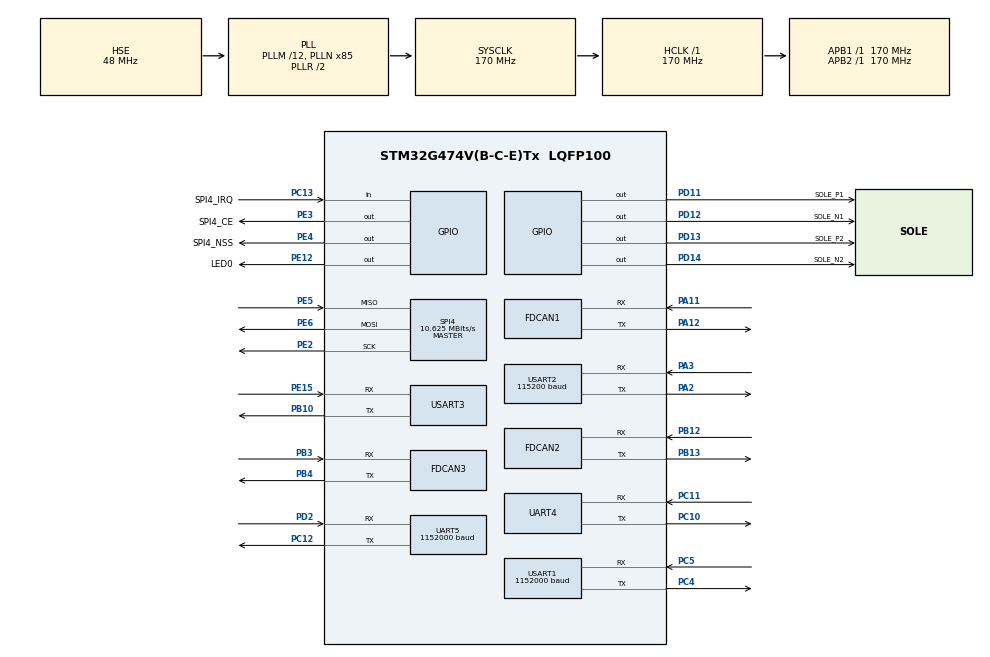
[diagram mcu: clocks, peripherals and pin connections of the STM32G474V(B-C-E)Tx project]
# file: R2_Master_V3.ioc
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Dma.Request0=USART1_RX
Dma.Request1=USART2_RX
Dma.Request2=USART3_RX
Dma.Request3=UART4_RX
Dma.Request4=UART5_RX
Dma.UART4_RX.3.Direction=DMA_PERIPH_TO_MEMORY
Dma.UART4_RX.3.EventEnable=DISABLE
Dma.UART4_RX.3.Instance=DMA1_Channel4
Dma.UART4_RX.3.MemDataAlignment=DMA_MDATAALIGN_BYTE
Dma.UART4_RX.3.MemInc=DMA_MINC_ENABLE
Dma.UART4_RX.3.Mode=DMA_NORMAL
Dma.UART4_RX.3.PeriphDataAlignment=DMA_PDATAALIGN_BYTE
Dma.UART4_RX.3.PeriphInc=DMA_PINC_DISABLE
Dma.UART4_RX.3.Polarity=HAL_DMAMUX_REQ_GEN_RISING
Dma.UART4_RX.3.Priority=DMA_PRIORITY_LOW
Dma.UART4_RX.3.RequestNumber=1
Dma.UART4_RX.3.SignalID=NONE
Dma.UART4_RX.3.SyncEnable=DISABLE
Dma.UART4_RX.3.SyncPolarity=HAL_DMAMUX_SYNC_NO_EVENT
Dma.UART4_RX.3.SyncRequestNumber=1
Dma.UART4_RX.3.SyncSignalID=NONE
Dma.UART5_RX.4.Direction=DMA_PERIPH_TO_MEMORY
Dma.UART5_RX.4.EventEnable=DISABLE
Dma.UART5_RX.4.Instance=DMA1_Channel5
Dma.UART5_RX.4.MemDataAlignment=DMA_MDATAALIGN_BYTE
Dma.UART5_RX.4.MemInc=DMA_MINC_ENABLE
Dma.UART5_RX.4.Mode=DMA_NORMAL
Dma.UART5_RX.4.PeriphDataAlignment=DMA_PDATAALIGN_BYTE
Dma.UART5_RX.4.PeriphInc=DMA_PINC_DISABLE
Dma.UART5_RX.4.Polarity=HAL_DMAMUX_REQ_GEN_RISING
Dma.UART5_RX.4.Priority=DMA_PRIORITY_LOW
Dma.UART5_RX.4.RequestNumber=1
Dma.UART5_RX.4.SignalID=NONE
Dma.UART5_RX.4.SyncEnable=DISABLE
Dma.UART5_RX.4.SyncPolarity=HAL_DMAMUX_SYNC_NO_EVENT
Dma.UART5_RX.4.SyncRequestNumber=1
Dma.UART5_RX.4.SyncSignalID=NONE
Dma.USART1_RX.0.Direction=DMA_PERIPH_TO_MEMORY
Dma.USART1_RX.0.EventEnable=DISABLE
Dma.USART1_RX.0.Instance=DMA1_Channel1
Dma.USART1_RX.0.MemDataAlignment=DMA_MDATAALIGN_BYTE
Dma.USART1_RX.0.MemInc=DMA_MINC_ENABLE
Dma.USART1_RX.0.Mode=DMA_NORMAL
Dma.USART1_RX.0.PeriphDataAlignment=DMA_PDATAALIGN_BYTE
Dma.USART1_RX.0.PeriphInc=DMA_PINC_DISABLE
Dma.USART1_RX.0.Polarity=HAL_DMAMUX_REQ_GEN_RISING
Dma.USART1_RX.0.Priority=DMA_PRIORITY_LOW
Dma.USART1_RX.0.RequestNumber=1
Dma.USART1_RX.0.SignalID=NONE
Dma.USART1_RX.0.SyncEnable=DISABLE
Dma.USART1_RX.0.SyncPolarity=HAL_DMAMUX_SYNC_NO_EVENT
Dma.USART1_RX.0.SyncRequestNumber=1
Dma.USART1_RX.0.SyncSignalID=NONE
Dma.USART2_RX.1.Direction=DMA_PERIPH_TO_MEMORY
Dma.USART2_RX.1.EventEnable=DISABLE
Dma.USART2_RX.1.Instance=DMA1_Channel2
Dma.USART2_RX.1.MemDataAlignment=DMA_MDATAALIGN_BYTE
Dma.USART2_RX.1.MemInc=DMA_MINC_ENABLE
Dma.USART2_RX.1.Mode=DMA_NORMAL
Dma.USART2_RX.1.PeriphDataAlignment=DMA_PDATAALIGN_BYTE
Dma.USART2_RX.1.PeriphInc=DMA_PINC_DISABLE
Dma.USART2_RX.1.Polarity=HAL_DMAMUX_REQ_GEN_RISING
Dma.USART2_RX.1.Priority=DMA_PRIORITY_LOW
Dma.USART2_RX.1.RequestNumber=1
Dma.USART2_RX.1.SignalID=NONE
Dma.USART2_RX.1.SyncEnable=DISABLE
Dma.USART2_RX.1.SyncPolarity=HAL_DMAMUX_SYNC_NO_EVENT
Dma.USART2_RX.1.SyncRequestNumber=1
Dma.USART2_RX.1.SyncSignalID=NONE
Dma.USART3_RX.2.Direction=DMA_PERIPH_TO_MEMORY
Dma.USART3_RX.2.EventEnable=DISABLE
Dma.USART3_RX.2.Instance=DMA1_Channel3
Dma.USART3_RX.2.MemDataAlignment=DMA_MDATAALIGN_BYTE
Dma.USART3_RX.2.MemInc=DMA_MINC_ENABLE
Dma.USART3_RX.2.Mode=DMA_NORMAL
Dma.USART3_RX.2.PeriphDataAlignment=DMA_PDATAALIGN_BYTE
Dma.USART3_RX.2.PeriphInc=DMA_PINC_DISABLE
Dma.USART3_RX.2.Polarity=HAL_DMAMUX_REQ_GEN_RISING
Dma.USART3_RX.2.Priority=DMA_PRIORITY_LOW
Dma.USART3_RX.2.RequestNumber=1
Dma.USART3_RX.2.SignalID=NONE
Dma.USART3_RX.2.SyncEnable=DISABLE
Dma.USART3_RX.2.SyncPolarity=HAL_DMAMUX_SYNC_NO_EVENT
Dma.USART3_RX.2.SyncRequestNumber=1
Dma.USART3_RX.2.SyncSignalID=NONE
FDCAN1.CalculateBaudRateNominal=1000000
FDCAN1.CalculateTimeBitNominal=1000
FDCAN1.CalculateTimeQuantumNominal=100.0
FDCAN1.NominalPrescaler=17
FDCAN1.NominalTimeSeg1=6
FDCAN1.NominalTimeSeg2=3
FDCAN2.CalculateBaudRateNominal=1000000
FDCAN2.CalculateTimeBitNominal=1000
FDCAN2.CalculateTimeQuantumNominal=100.0
FDCAN2.NominalPrescaler=17
FDCAN2.NominalTimeSeg1=6
FDCAN2.NominalTimeSeg2=3
FDCAN3.CalculateBaudRateNominal=1000000
FDCAN3.CalculateTimeBitNominal=1000
FDCAN3.CalculateTimeQuantumNominal=100.0
FDCAN3.NominalPrescaler=17
FDCAN3.NominalTimeSeg1=6
FDCAN3.NominalTimeSeg2=3
FREERTOS.Queues01=NRF_RX_Queue,1,RemoteRXSturct,0,Dynamic,NULL,NULL;VisionData_Queue,32,VisionStruct,0,Dynamic,NULL,NULL;ControlQueue,32,ControlMsgStruct,0,Dynamic,NULL,NULL
FREERTOS.Tasks01=Debug_Task,0,1024,DebugTask,Default,NULL,Dynamic,NULL,NULL;NRF_Task,0,1024,NRFTask,Default,NULL,Dynamic,NULL,NULL;ChassisTask,0,2048,chassis,Default,NULL,Dynamic,NULL,NULL;ClawTask,0,2048,claw,Default,NULL,Dynamic,NULL,NULL;SuctionTask,0,2048,suction,Default,NULL,Dynamic,NULL,NULL;VisionComTask,0,2048,visioncom,Default,NULL,Dynamic,NULL,NULL;CloseLoopTask,0,2048,closeloop,Default,NULL,Dynamic,NULL,NULL;InitTask,3,1024,init,Default,NULL,Dynamic,NULL,NULL
FREERTOS.configTOTAL_HEAP_SIZE=65536
Mcu.Family=STM32G4
Mcu.Name=STM32G474V(B-C-E)Tx
Mcu.Package=LQFP100
NVIC.DMA1_Channel1_IRQn=true\:5\:0\:false\:false\:true\:true\:false\:true\:true
NVIC.DMA1_Channel2_IRQn=true\:5\:0\:false\:false\:true\:true\:false\:true\:true
NVIC.DMA1_Channel3_IRQn=true\:5\:0\:false\:false\:true\:true\:false\:true\:true
NVIC.DMA1_Channel4_IRQn=true\:5\:0\:false\:false\:true\:true\:false\:true\:true
NVIC.DMA1_Channel5_IRQn=true\:5\:0\:false\:false\:true\:true\:false\:true\:true
NVIC.FDCAN1_IT0_IRQn=true\:5\:0\:false\:false\:true\:true\:true\:true\:true
NVIC.FDCAN2_IT0_IRQn=true\:5\:0\:false\:false\:true\:true\:true\:true\:true
NVIC.FDCAN3_IT0_IRQn=true\:5\:0\:false\:false\:true\:true\:true\:true\:true
NVIC.PriorityGroup=NVIC_PRIORITYGROUP_4
NVIC.TIM2_IRQn=true\:5\:0\:false\:false\:true\:true\:true\:true\:true
NVIC.TIM7_DAC_IRQn=true\:15\:0\:false\:false\:true\:false\:false\:true\:true
NVIC.TimeBase=TIM7_DAC_IRQn
NVIC.TimeBaseIP=TIM7
NVIC.UART4_IRQn=true\:5\:0\:false\:false\:true\:true\:true\:true\:true
NVIC.UART5_IRQn=true\:5\:0\:false\:false\:true\:true\:true\:true\:true
NVIC.USART1_IRQn=true\:5\:0\:false\:false\:true\:true\:true\:true\:true
NVIC.USART2_IRQn=true\:5\:0\:false\:false\:true\:true\:true\:true\:true
NVIC.USART3_IRQn=true\:5\:0\:false\:false\:true\:true\:true\:true\:true
PA11.Mode=FDCAN_Activate
PA11.Signal=FDCAN1_RX
PA12.Mode=FDCAN_Activate
PA12.Signal=FDCAN1_TX
PA13.Mode=Serial_Wire
PA13.Signal=SYS_JTMS-SWDIO
PA14.Mode=Serial_Wire
PA14.Signal=SYS_JTCK-SWCLK
PA2.Mode=Asynchronous
PA2.Signal=USART2_TX
PA3.Mode=Asynchronous
PA3.Signal=USART2_RX
PA8.Signal=I2C2_SDA
PA9.Signal=I2C2_SCL
PB10.Mode=Asynchronous
PB10.Signal=USART3_TX
PB12.Mode=FDCAN_Activate
PB12.Signal=FDCAN2_RX
PB13.Mode=FDCAN_Activate
PB13.Signal=FDCAN2_TX
PB3.Mode=FDCAN_Activate
PB3.Signal=FDCAN3_RX
PB4.Mode=FDCAN_Activate
PB4.Signal=FDCAN3_TX
PC10.Mode=Asynchronous
PC10.Signal=UART4_TX
PC11.Mode=Asynchronous
PC11.Signal=UART4_RX
PC12.Mode=Asynchronous
PC12.Signal=UART5_TX
PC13.GPIO_Label=SPI4_IRQ
PC13.Signal=GPIO_Input
PC4.Mode=Asynchronous
PC4.Signal=USART1_TX
PC5.Mode=Asynchronous
PC5.Signal=USART1_RX
PD11.GPIO_Label=SOLE_P1
PD11.GPIO_PuPd=GPIO_PULLDOWN
PD11.GPIO_Speed=GPIO_SPEED_FREQ_LOW
PD11.PinState=GPIO_PIN_RESET
PD11.Signal=GPIO_Output
PD12.GPIO_Label=SOLE_N1
PD12.GPIO_ModeDefaultOutputPP=GPIO_MODE_OUTPUT_PP
PD12.GPIO_PuPd=GPIO_PULLDOWN
PD12.GPIO_Speed=GPIO_SPEED_FREQ_LOW
PD12.PinState=GPIO_PIN_RESET
PD12.Signal=GPIO_Output
PD13.GPIO_Label=SOLE_P2
PD13.GPIO_ModeDefaultOutputPP=GPIO_MODE_OUTPUT_PP
PD13.GPIO_PuPd=GPIO_PULLDOWN
PD13.GPIO_Speed=GPIO_SPEED_FREQ_LOW
PD13.PinState=GPIO_PIN_RESET
PD13.Signal=GPIO_Output
PD14.GPIO_Label=SOLE_N2
PD14.GPIO_ModeDefaultOutputPP=GPIO_MODE_OUTPUT_PP
PD14.GPIO_PuPd=GPIO_PULLDOWN
PD14.GPIO_Speed=GPIO_SPEED_FREQ_LOW
PD14.PinState=GPIO_PIN_RESET
PD14.Signal=GPIO_Output
PD2.Mode=Asynchronous
PD2.Signal=UART5_RX
PE12.GPIO_Label=LED0
PE12.GPIO_PuPd=GPIO_PULLUP
PE12.Signal=GPIO_Output
PE15.Mode=Asynchronous
PE15.Signal=USART3_RX
PE2.Mode=Full_Duplex_Master
PE2.Signal=SPI4_SCK
PE3.GPIO_Label=SPI4_CE
PE3.GPIO_Speed=GPIO_SPEED_FREQ_VERY_HIGH
PE3.Signal=GPIO_Output
PE4.GPIO_Label=SPI4_NSS
PE4.GPIO_Speed=GPIO_SPEED_FREQ_VERY_HIGH
PE4.Signal=GPIO_Output
PE5.Mode=Full_Duplex_Master
PE5.Signal=SPI4_MISO
PE6.Mode=Full_Duplex_Master
PE6.Signal=SPI4_MOSI
PF0-OSC_IN.Mode=HSE-External-Oscillator
PF0-OSC_IN.Signal=RCC_OSC_IN
PF1-OSC_OUT.Mode=HSE-External-Oscillator
PF1-OSC_OUT.Signal=RCC_OSC_OUT
ProjectManager.HeapSize=0x200
ProjectManager.StackSize=0x400
ProjectManager.TargetToolchain=STM32CubeIDE
RCC.ADC12Freq_Value=170000000
RCC.ADC345Freq_Value=170000000
RCC.AHBFreq_Value=170000000
RCC.APB1Freq_Value=170000000
RCC.APB1TimFreq_Value=170000000
RCC.APB2Freq_Value=170000000
RCC.APB2TimFreq_Value=170000000
RCC.CortexFreq_Value=170000000
RCC.EXTERNAL_CLOCK_VALUE=12288000
RCC.HCLKFreq_Value=170000000
RCC.HSE_VALUE=48000000
RCC.HSI48_VALUE=48000000
RCC.HSI_VALUE=16000000
RCC.LSE_VALUE=32768
RCC.PLLM=RCC_PLLM_DIV12
RCC.PLLN=85
RCC.PLLSourceVirtual=RCC_PLLSOURCE_HSE
RCC.SYSCLKFreq_VALUE=170000000
RCC.SYSCLKSource=RCC_SYSCLKSOURCE_PLLCLK
RCC.USBFreq_Value=170000000
RCC.VCOOutputFreq_Value=340000000
SPI4.BaudRatePrescaler=SPI_BAUDRATEPRESCALER_16
SPI4.CalculateBaudRate=10.625 MBits/s
SPI4.DataSize=SPI_DATASIZE_8BIT
SPI4.Direction=SPI_DIRECTION_2LINES
SPI4.Mode=SPI_MODE_MASTER
SPI4.VirtualType=VM_MASTER
STMicroelectronics.X-CUBE-ALGOBUILD.1.3.0.LibraryCcDSPOoLibraryJjDSPOoLibrary=true
TIM2.AutoReloadPreload=TIM_AUTORELOAD_PRELOAD_ENABLE
TIM2.PeriodNoDither=1000
TIM2.Prescaler=170
UART5.BaudRate=1152000
USART1.BaudRate=1152000
USART1.VirtualMode-Asynchronous=VM_ASYNC
USART2.BaudRate=115200
USART2.VirtualMode-Asynchronous=VM_ASYNC
USART3.VirtualMode-Asynchronous=VM_ASYNC
VP_FREERTOS_VS_CMSIS_V1.Mode=CMSIS_V1
VP_STMicroelectronics.X-CUBE-ALGOBUILD_VS_DSPOoLibraryJjLibrary_1.3.0_1.3.0.Mode=DSPOoLibraryJjLibrary
VP_SYS_VS_DBSignals.Mode=DisableDeadBatterySignals
VP_SYS_VS_tim7.Mode=TIM7
VP_TIM2_VS_ClockSourceINT.Mode=Internal
board=custom

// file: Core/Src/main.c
/* USER CODE BEGIN Header */
/**
  ******************************************************************************
  * @file           : main.c
  * @brief          : Main program body
  ******************************************************************************
  * @attention
  *
  * Copyright (c) 2024 STMicroelectronics.
  * All rights reserved.
  *
  * This software is licensed under terms that can be found in the LICENSE file
  * in the root directory of this software component.
  * If no LICENSE file comes with this software, it is provided AS-IS.
  *
  ******************************************************************************
  */
/* USER CODE END Header */
#include "main.h"
#include "cmsis_os.h"
#include "dma.h"
#include "fdcan.h"
#include "spi.h"
#include "tim.h"
#include "usart.h"
#include "gpio.h"

/* USER CODE BEGIN PV */
int16_t Wheels_VelOut[4];//PID计算存储中间变量
uint8_t Control_Mode;
uint8_t State,Store_Flag;
float Left_TargetSpe,Right_TargetSpe,Slope_Pos,Toggle_Pos;
/* USER CODE END PV */

void SystemClock_Config(void);
void MX_FREERTOS_Init(void);

int main(void)
{

  /* MCU Configuration--------------------------------------------------------*/

  /* Reset of all peripherals, Initializes the Flash interface and the Systick. */
  HAL_Init();

  /* Configure the system clock */
  SystemClock_Config();

  /* Initialize all configured peripherals */
  MX_GPIO_Init();
  MX_DMA_Init();
  MX_FDCAN1_Init();
  MX_FDCAN2_Init();
  MX_FDCAN3_Init();
  MX_SPI4_Init();
  MX_USART1_UART_Init();
  MX_USART2_UART_Init();
  MX_USART3_UART_Init();
  MX_UART4_Init();
  MX_UART5_Init();
  MX_TIM2_Init();
  /* USER CODE BEGIN 2 */
    /** 打开串口1中断和DMA **/
    __HAL_UART_ENABLE_IT(&huart1,UART_IT_IDLE);
    HAL_UART_Receive_DMA(&huart1,USART1_Buffer,256);
    /** 打开串口1中断和DMA **/
    __HAL_UART_ENABLE_IT(&huart2,UART_IT_IDLE);
    HAL_UART_Receive_DMA(&huart2,USART2_Buffer,50);
    /** 打开串口1中断和DMA **/
    __HAL_UART_ENABLE_IT(&huart3,UART_IT_IDLE);
    HAL_UART_Receive_DMA(&huart3,USART3_Buffer,30);
    /** 打开串口1中断和DMA **/
    __HAL_UART_ENABLE_IT(&huart4,UART_IT_IDLE);
    HAL_UART_Receive_DMA(&huart4,USART4_Buffer,256);
    /** 打开串口1中断和DMA **/
    __HAL_UART_ENABLE_IT(&huart5,UART_IT_IDLE);
    HAL_UART_Receive_DMA(&huart5,USART5_Buffer,256);
    /** 初始化Printf函数 **/
    RetargetInit(&huart1);
    /** 初始化定时器中断 **/
    //HAL_TIM_Base_Start_IT(&htim2);
  /* USER CODE END 2 */

  /* Call init function for freertos objects (in cmsis_os2.c) */
  MX_FREERTOS_Init();

  /* Start scheduler */
  osKernelStart();

  /* We should never get here as control is now taken by the scheduler */

  /* Infinite loop */
  while (1)
  {

  }
}

void SystemClock_Config(void)
{
  RCC_OscInitTypeDef RCC_OscInitStruct = {0};
  RCC_ClkInitTypeDef RCC_ClkInitStruct = {0};

  /** Configure the main internal regulator output voltage
  */
  HAL_PWREx_ControlVoltageScaling(PWR_REGULATOR_VOLTAGE_SCALE1_BOOST);

  /** Initializes the RCC Oscillators according to the specified parameters
  * in the RCC_OscInitTypeDef structure.
  */
  RCC_OscInitStruct.OscillatorType = RCC_OSCILLATORTYPE_HSE;
  RCC_OscInitStruct.HSEState = RCC_HSE_ON;
  RCC_OscInitStruct.PLL.PLLState = RCC_PLL_ON;
  RCC_OscInitStruct.PLL.PLLSource = RCC_PLLSOURCE_HSE;
  RCC_OscInitStruct.PLL.PLLM = RCC_PLLM_DIV12;
  RCC_OscInitStruct.PLL.PLLN = 85;
  RCC_OscInitStruct.PLL.PLLP = RCC_PLLP_DIV2;
  RCC_OscInitStruct.PLL.PLLQ = RCC_PLLQ_DIV2;
  RCC_OscInitStruct.PLL.PLLR = RCC_PLLR_DIV2;
  if (HAL_RCC_OscConfig(&RCC_OscInitStruct) != HAL_OK)
  {
    Error_Handler();
  }

  /** Initializes the CPU, AHB and APB buses clocks
  */
  RCC_ClkInitStruct.ClockType = RCC_CLOCKTYPE_HCLK|RCC_CLOCKTYPE_SYSCLK
                              |RCC_CLOCKTYPE_PCLK1|RCC_CLOCKTYPE_PCLK2;
  RCC_ClkInitStruct.SYSCLKSource = RCC_SYSCLKSOURCE_PLLCLK;
  RCC_ClkInitStruct.AHBCLKDivider = RCC_SYSCLK_DIV1;
  RCC_ClkInitStruct.APB1CLKDivider = RCC_HCLK_DIV1;
  RCC_ClkInitStruct.APB2CLKDivider = RCC_HCLK_DIV1;

  if (HAL_RCC_ClockConfig(&RCC_ClkInitStruct, FLASH_LATENCY_4) != HAL_OK)
  {
    Error_Handler();
  }
}

/* USER CODE BEGIN 4 */
void ControlMsgSet(ControlMsgStruct *ControlQueueBuf,uint8_t device, uint8_t command, float data1, float data2, float data3, float data4){
    ControlQueueBuf->Device = device;
    ControlQueueBuf->Command = command;
    ControlQueueBuf->data[0] = data1;
    ControlQueueBuf->data[1] = data2;
    ControlQueueBuf->data[2] = data3;
    ControlQueueBuf->data[3] = data4;
}
void ControlMsgInit(ControlMsgStruct *ControlQueueBuf){
    ControlQueueBuf->Device = 0;
    ControlQueueBuf->Command = 0;
    ControlQueueBuf->data[0] = 0;
    ControlQueueBuf->data[1] = 0;
    ControlQueueBuf->data[2] = 0;
    ControlQueueBuf->data[3] = 0;
}
/* USER CODE END 4 */

void HAL_TIM_PeriodElapsedCallback(TIM_HandleTypeDef *htim)
{
  /* USER CODE BEGIN Callback 0 */
  if (htim->Instance == TIM2 ) {
      /** 实际�????????? **/
//      Wheels_VelOut[0] = (int16_t)PID_Realise(&Wheels[0],-Wheels_vel[0],Motor_Info[0].speed,M3508_CURRENT_MAX,5);
//      Wheels_VelOut[1] = (int16_t)PID_Realise(&Wheels[1],-Wheels_vel[1],Motor_Info[1].speed,M3508_CURRENT_MAX,5);
//      Wheels_VelOut[2] = (int16_t)PID_Realise(&Wheels[2],-Wheels_vel[2],Motor_Info[2].speed,M3508_CURRENT_MAX,5);
//      Wheels_VelOut[3] = (int16_t)PID_Realise(&Wheels[3],-Wheels_vel[3],Motor_Info[3].speed,M3508_CURRENT_MAX,5);
      /** 调试�????????? **/
//      Wheels_VelOut[0] = PID_Realise(&Wheels[0],Wheels[0].target,Motor_Info[0].speed,M3508_CURRENT_MAX,5);
//      Wheels_VelOut[1] = PID_Realise(&Wheels[1],Wheels[1].target,Motor_Info[1].speed,M3508_CURRENT_MAX,5);
//      Wheels_VelOut[2] = PID_Realise(&Wheels[2],Wheels[2].target,Motor_Info[2].speed,M3508_CURRENT_MAX,5);
//      Wheels_VelOut[3] = PID_Realise(&Wheels[3],Wheels[3].target,Motor_Info[3].speed,M3508_CURRENT_MAX,5);

      Set_Current(&hfdcan1,0x200,Wheels_VelOut[0],Wheels_VelOut[1],Wheels_VelOut[2],Wheels_VelOut[3]);
  }
  /* USER CODE END Callback 0 */
  if (htim->Instance == TIM7) {
    HAL_IncTick();
  }
}

void Error_Handler(void)
{
  __disable_irq();
  while (1)
  {
  }
}

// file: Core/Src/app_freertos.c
/* USER CODE BEGIN Header */
/**
  ******************************************************************************
  * File Name          : app_freertos.c
  * Description        : Code for freertos applications
  ******************************************************************************
  * @attention
  *
  * Copyright (c) 2024 STMicroelectronics.
  * All rights reserved.
  *
  * This software is licensed under terms that can be found in the LICENSE file
  * in the root directory of this software component.
  * If no LICENSE file comes with this software, it is provided AS-IS.
  *
  ******************************************************************************
  */
/* USER CODE END Header */

#include "FreeRTOS.h"
#include "task.h"
#include "main.h"
#include "cmsis_os.h"

/* USER CODE BEGIN Includes */
#include "fdcan.h"
#include "gpio.h"
#include "DT35.h"
#include "queue.h"
#include "Screen.h"
/* USER CODE END Includes */

/* USER CODE BEGIN Variables */
uint8_t str_flag;
extern int16_t Wheels_VelOut[0];
PointStruct Target_Point;
extern int16_t Toggle_Pos;
extern int16_t Slope_Pos;
int32_t VESC_Speed = 0;
uint8_t Sheild_Flag = 0;//屏蔽控制权交给chassis任务
extern float DT35_Area2;
float LiDar_x_last,LiDar_y_last = 0;
float Locator_Start[2];
float MutiPos_x;
float MutiPos_y;
float Locator_Addup[2];
float offset_angle = 0;
float offset_x = 0;
uint8_t flag1 = 0;
uint8_t flag2 = 0;
uint8_t meg = 0x01;
extern float DT35_Forward,DT35_CloseBall;
uint8_t Camp = RED;
uint8_t Interrupt_Flag = 1;
uint8_t CloseLoopStatus = 0;
PointStruct target_point = {0, 0, 0};
uint8_t AlignStatus = 0;
uint8_t number = 0;
//extern locater_def locater;
PointStruct Start_Point = {.x = 2.88f, .y = 9.7f, .angle = 0.0f};//3区调试用�???????????????????
PointStruct Watch_Point = {.x = 3.33f, .y = 9.7f, .angle = 0.0f};//3区调试用�???????????????????
//定义环类型，用于�???????????�取不同数据作为反馈�?????????????????????????-

/* USER CODE END Variables */
osThreadId Debug_TaskHandle;
osThreadId NRF_TaskHandle;
osThreadId ChassisTaskHandle;
osThreadId ClawTaskHandle;
osThreadId SuctionTaskHandle;
osThreadId VisionComTaskHandle;
osThreadId CloseLoopTaskHandle;
osThreadId InitTaskHandle;
osMessageQId NRF_RX_QueueHandle;
osMessageQId VisionData_QueueHandle;
osMessageQId ControlQueueHandle;

void DebugTask(void const * argument);
void NRFTask(void const * argument);
void chassis(void const * argument);
void claw(void const * argument);
void suction(void const * argument);
void visioncom(void const * argument);
void closeloop(void const * argument);
void init(void const * argument);

void MX_FREERTOS_Init(void); /* (MISRA C 2004 rule 8.1) */

void MX_FREERTOS_Init(void) {

  /* Create the queue(s) */
  /* definition and creation of NRF_RX_Queue */
  osMessageQDef(NRF_RX_Queue, 1, RemoteRXSturct);
  NRF_RX_QueueHandle = osMessageCreate(osMessageQ(NRF_RX_Queue), NULL);

  /* definition and creation of VisionData_Queue */
  osMessageQDef(VisionData_Queue, 32, VisionStruct);
  VisionData_QueueHandle = osMessageCreate(osMessageQ(VisionData_Queue), NULL);

  /* definition and creation of ControlQueue */
  osMessageQDef(ControlQueue, 32, ControlMsgStruct);
  ControlQueueHandle = osMessageCreate(osMessageQ(ControlQueue), NULL);

  /* Create the thread(s) */
  /* definition and creation of Debug_Task */
  osThreadDef(Debug_Task, DebugTask, osPriorityNormal, 0, 1024);
  Debug_TaskHandle = osThreadCreate(osThread(Debug_Task), NULL);

  /* definition and creation of NRF_Task */
  osThreadDef(NRF_Task, NRFTask, osPriorityNormal, 0, 1024);
  NRF_TaskHandle = osThreadCreate(osThread(NRF_Task), NULL);

  /* definition and creation of ChassisTask */
  osThreadDef(ChassisTask, chassis, osPriorityNormal, 0, 2048);
  ChassisTaskHandle = osThreadCreate(osThread(ChassisTask), NULL);

  /* definition and creation of ClawTask */
  osThreadDef(ClawTask, claw, osPriorityNormal, 0, 2048);
  ClawTaskHandle = osThreadCreate(osThread(ClawTask), NULL);

  /* definition and creation of SuctionTask */
  osThreadDef(SuctionTask, suction, osPriorityNormal, 0, 2048);
  SuctionTaskHandle = osThreadCreate(osThread(SuctionTask), NULL);

  /* definition and creation of VisionComTask */
  osThreadDef(VisionComTask, visioncom, osPriorityNormal, 0, 2048);
  VisionComTaskHandle = osThreadCreate(osThread(VisionComTask), NULL);

  /* definition and creation of CloseLoopTask */
  osThreadDef(CloseLoopTask, closeloop, osPriorityNormal, 0, 2048);
  CloseLoopTaskHandle = osThreadCreate(osThread(CloseLoopTask), NULL);

  /* definition and creation of InitTask */
  osThreadDef(InitTask, init, osPriorityRealtime, 0, 1024);
  InitTaskHandle = osThreadCreate(osThread(InitTask), NULL);

}

/* USER CODE BEGIN Header_DebugTask */
/**
  * @brief  此任务用于一些参数和外设的初始化以及使用串口和LED调试
  * @param  argument: Not used
  * @retval None
  */
/* USER CODE END Header_DebugTask */
void DebugTask(void const * argument)
{
  /* USER CODE BEGIN DebugTask */
    /** 等待NRF校准 **/
    //包含部分初始化内�?????????????????????
//    while (NRF24L01_Check()) {
//        printf("no\n");
//    }
    //NRF24L01_RX_Mode();

    /* Infinite loop */
    for (;;) {
        printf("%.2f %.2f %.2f\n", DT35_Data.DT35_2, DT35_Data.DT35_3,DT35_Data.DT35_1);
//        printf("%.2f %.2f \n", locater.pos_x, locater.pos_y);
//        printf("%.3f %.3f\n", LiDar.locx, LiDar.locy);
        //printf("%f %f\n",MutiPos_x,MutiPos_y);
//        printf("%s\n", USART5_Buffer);
        //printf("%f\n", LiDar.yaw);
        //printf("%.2f,%.2f,%.2f,%.4f\n",locater.pos_x,locater.pos_y,locater.angle,locater.Tof_dis);
        //printf("%s",USART2_Buffer);
        //
         //printf("%f %f %f %f\n",TOF_dis2,TOF_dis1,MutiPos_x,MutiPos_y);
        //printf("%f\n",TOF_dis1);
        //printf("TOF: %f\n",TOF_dis1 );
        //printf("%d",Camp);

        osDelay(50);
    }
  /* USER CODE END DebugTask */
}

/* USER CODE BEGIN Header_NRFTask */
/**
* @brief 此函数用于接收遥控器的数�????????????????????????????
* @param argument: Not used
* @retval None
*/
/* USER CODE END Header_NRFTask */
void NRFTask(void const * argument)
{
  /* USER CODE BEGIN NRFTask */
    /** 定义存储数据变量 **/
//    static uint8_t rc_data[RX_PLOAD_WIDTH] = {0};//接收数组缓冲
//    static RemoteRXSturct RemoteRX;//用于存遥控器传来的数
//    uint8_t cmd;
//    int16_t suctionSpeed = 0;

    /* Infinite loop */
    for (;;) {
//        if (NRF24L01_RxPacket(rc_data) == 0)  //接收遥控器数据，若收到返0，若没收到返1
//        {
//            /** 读取左右摇杆值，限制�????????????????????????????-128~128 **/
//            RemoteRX.lx = (int16_t) -(rc_data[1] - 128);
//            RemoteRX.ly = (int16_t) -(rc_data[2] - 128);
//            RemoteRX.rx = (int16_t) -(rc_data[3] - 128);
//            RemoteRX.ry = (int16_t) -(rc_data[4] - 128);
//            /** 接收遥控器按键命 **/
//            RemoteRX.command = rc_data[5];
//            /** 设置摇杆值的死区 **/
//            if (abs(RemoteRX.rx) < 2) RemoteRX.rx = 0;
//            if (abs(RemoteRX.ry) < 2) RemoteRX.ry = 0;
//            if (abs(RemoteRX.lx) < 2) RemoteRX.lx = 0;
//            if (abs(RemoteRX.ly) < 2) RemoteRX.ly = 0;
//            /** 对遥控器进行滤波，原因是遥控器有莫名其妙的电平跳 **/
//            if (RemoteRX.rx == -5) RemoteRX.rx = 0;
//            if (RemoteRX.ry == -4) RemoteRX.ry = 0;
//            if (RemoteRX.lx == -4) RemoteRX.lx = 0;
//            if (RemoteRX.ly == -4) RemoteRX.ly = 0;
//
//            /**将NRF数据更新到四轮全�?????????????????????????变量�?????????????????????????**/
//            SGW2Wheels((float) RemoteRX.rx * 3 / 128, (float) RemoteRX.ry * 3 / 128, (float) RemoteRX.lx * 3 / 128, 0);
//            printf("%d",RemoteRX.command);
//            /** 对遥控器按键命令进行响应 **/
//            switch (RemoteRX.command) {
//                case Left_Up_Up:
//                    break;
//                case Left_Up:
//                    printf("start");
//                    QueueBuffer = 0;
//                    xQueueSend(VisionData_QueueHandle, &QueueBuffer, 0);
//                    break;
//                case Right_Up:
//
//                    break;
//                case Right_Down:
//
//                    break;
//                case Right_Right:
//
//                    break;
//                case Left_Left:
//
//                    break;
//                case Left_Right:
//
//                    break;
//                case Right_Left:
//
//                    break;
//                case Right_Up_Up:
//                    break;
//                default:
//                    break;
//            }
//        printf("%d,%d\n",RemoteRX.command,RemoteRX.ly);/** 用于调试遥控器按 **/
//            RemoteRX.command = 0; //重置命令
//
//        }
        //printf("detecting\n");
        LED0_Flashing;
        osDelay(500);
    }
  /* USER CODE END NRFTask */
}

void chassis(void const * argument)
{
  /* USER CODE BEGIN chassis */
    ControlMsgStruct ControlQueueBuf;
    uint8_t QueueBuffer = 0;
    VisionStruct visiondatabuf;
    uint8_t StartPointNumber = 0;
    /* Infinite loop */
    for (;;) {
//        if (xQueuePeek(ControlQueueHandle, &ControlQueueBuf, 0) == pdTRUE) {
//            if (ControlQueueBuf.Device == CHASSIS) {
//                xQueueReceive(ControlQueueHandle, &ControlQueueBuf, 0);
//                switch (ControlQueueBuf.Command) {
//                    case CHASSIS_RUN:
//                        Interrupt_Flag = 0;
//                        break;
//                    case CHASSIS_STOP:
//                        Interrupt_Flag = 1;
//                        break;
//                    case CHASSIS_Aviodance:
//                        //Interrupt_Flag = 2;
//                        offset_x = ControlQueueBuf.data[0];
//                        break;
//                    case CloseLoop_START:
//                        //printf("STart");
//                        CloseLoopStatus = CloseLoop_START;
//                        target_point.x = ControlQueueBuf.data[0];
//                        target_point.y = ControlQueueBuf.data[1];
//                        target_point.angle = ControlQueueBuf.data[2];
//                        break;
//                    case CloseLoop_MID360:
//                        CloseLoopStatus = CloseLoop_MID360;
//                        target_point.x = ControlQueueBuf.data[0];
//                        target_point.y = ControlQueueBuf.data[1];
//                        target_point.angle = ControlQueueBuf.data[2];
//                        AlignStatus = (int) ControlQueueBuf.data[3];
//                        //Sheild_Flag = 1;
//                        break;
//                    case CloseLoop_Mid360AndDT35:
//                        CloseLoopStatus = CloseLoop_Mid360AndDT35;
//                        target_point.x = ControlQueueBuf.data[0];
//                        target_point.y = ControlQueueBuf.data[1];
//                        target_point.angle = ControlQueueBuf.data[2];
//                        number = (int)ControlQueueBuf.data[3];
//                        break;
//                    case CloseLoop_DT35:
//                        CloseLoopStatus = CloseLoop_DT35;
//                        target_point.x = ControlQueueBuf.data[0];
//                        target_point.y = ControlQueueBuf.data[1];
//                        target_point.angle = ControlQueueBuf.data[2];
//                        break;
//                    case CloseLoop_Ball:
//                            CloseLoopStatus = CloseLoop_Ball;
//                            offset_x = ControlQueueBuf.data[0];
//                        break;
////                  case CloseLoop_Left:
////                      CloseLoopStatus = CloseLoop_Left;
////                      offset_x = ControlQueueBuf.data[0];
////                      break;
////                  case CloseLoop_Right:
////                      CloseLoopStatus = CloseLoop_Right;
////                      offset_x = ControlQueueBuf.data[0];
////                      break;
//                    case GoForwardSlowly:
//                        CloseLoopStatus = GoForwardSlowly;
//                        //last_cmd = 1;
//                        break;
//                    case CHASSIS_TURN:
//                        CloseLoopStatus = CHASSIS_TURN;
//                        break;
//                    default:
//                        break;
//                }
//            }
//        }
        /** 判断程序**/
        /** 这一部分是奥里给 **/

        if(Interrupt_Flag == 0) {
            if (!(target_point.x == 0 && target_point.y == 0)) {
                //printf("in\n");
                //printf("%d",CloseLoopStatus);
                if(CloseLoopStatus == CloseLoop_START){
                    //printf("startrunning");
                    /** 纵向 **/
                    if(StartPointNumber == 0) {
                        //printf("detecting1\n");
                        Chassis_Move_OfVision(&target_point,&VisionRun1,3.0f,0.5f);
                        if (fabsf(target_point.y-MutiPos_y) < 0.2f) {
//                            ControlMsgSet(&ControlQueueBuf, CHASSIS, CloseLoop_START, Run1to3_Points[1].x,
//                                          Run1to3_Points[1].y, 0, 0);
//                            xQueueSend(ControlQueueHandle, &ControlQueueBuf, 0);
                            CloseLoopStatus = CloseLoop_START;
                            target_point=Run1to3_Points[1];
                            Interrupt_Flag = 0;
                            ControlMsgInit(&ControlQueueBuf);
                            StartPointNumber = 1;
                            //printf("1ok");
                        }
                    }
                    /** 横向 **/
                    else if(StartPointNumber == 1) {
                        //printf("%f %f",target_point.x,target_point.y);
                        Chassis_Move_OfVision(&target_point,&VisionRun1,2.5f,0.5f);
                            if (fabsf(target_point.x-MutiPos_x) < 0.1f ) {
                                Interrupt_Flag= 1;
                                osDelay(100);
                                CloseLoopStatus = CloseLoop_START;
                                target_point=Run1to3_Points[2];
                                Interrupt_Flag = 0;
                                ControlMsgInit(&ControlQueueBuf);
                                StartPointNumber = 2;
                                //printf("2ok");
                            }
                    }
                    /**纵向 **/
                    else if(StartPointNumber == 2) {
                        Chassis_Move_OfVision(&target_point,&VisionRun1,3.f,1.0f);
                        //printf("%f %f",target_point.x,target_point.y);
                        if ((target_point.y -MutiPos_y) < 0.1f &&
                            fabsf(LiDar.yaw - target_point.angle) < 3) {
                            Car_Stop;
                            osDelay(200);
                            CloseLoopStatus = CloseLoop_MID360;
                            target_point=Start_Point;
                            Interrupt_Flag = 0;
                            CLAW_OPEN_H;
                            Toggle_Mid_H;
                            SUCTION_ON_H;
                            StopVESC_H;
                            Slope_OFF_H;
//                            ControlMsgSet(&ControlQueueBuf, CLAW, CLAW_CLOSE, 0, 0, 0, 0);
//                            xQueueSend(ControlQueueHandle, &ControlQueueBuf, 0);
//                            ControlMsgSet(&ControlQueueBuf, CLAW, Toggle_Mid, 0, 0, 0, 0);
//                            xQueueSend(ControlQueueHandle, &ControlQueueBuf, 0);
//                            ControlMsgSet(&ControlQueueBuf, SUCTION, SUCTION_ON, 0, 0, 0, 0);
//                            xQueueSend(ControlQueueHandle, &ControlQueueBuf, 0);
//                            ControlMsgSet(&ControlQueueBuf, SUCTION, StopVESC, 0, 0, 0, 0);
//                            xQueueSend(ControlQueueHandle, &ControlQueueBuf, 0);
//                            ControlMsgSet(&ControlQueueBuf, SUCTION, Slope_OFF, 0, 0, 0, 0);
//                            xQueueSend(ControlQueueHandle, &ControlQueueBuf, 0);
//                            ControlMsgInit(&ControlQueueBuf);
                            StartPointNumber = 3;
                            //printf("3ok");
                        }
                    }
                }

                if (CloseLoopStatus == CloseLoop_MID360) {
                    Chassis_Move_OfVision(&target_point,&Chassis_GetBall_PID,2.f,0.0f);
                    //Vision_Send(0x06);
                    if (Distance_Calc(target_point,MutiPos_x,MutiPos_y) < 0.1f &&
                        fabsf(LiDar.yaw - target_point.angle) < 3) {
                        //Vision_Send(0x05);
                        //printf("%f",LiDar.yaw );
                        //Sheild_Flag = 0;
                        Vision_Send(0xCC);
                        Interrupt_Flag = 0;
                        //printf("RunOK");
                    }
                }
                else if (CloseLoopStatus == CloseLoop_Mid360AndDT35) {
                    //Vision_Send(0x05);
                    //Vision_Send(0x07);
                    Chassis_Move_OfVision(&target_point,&VisionRun2,2.f,0.0f);
                    //printf("MAD");
                    if (fabsf(target_point.x - LiDar.locx) < 0.5f &&
                        fabsf(LiDar.yaw - target_point.angle) < 3.f) {
                        //Vision_Send(0x06);
                            //Vision_Send(0x06);
                        CloseLoopStatus = CloseLoop_DT35;
                        target_point=DT35_AimPoints[number-1];
                            //printf("MID2DT,ok\n");
                    }
                }
                else if (CloseLoopStatus == CloseLoop_DT35) {
                    //Vision_Send(0x05);
                    Chassis_Move_OfDT35(&target_point);
                    Vision_Send(0x08);
                    if (Distance_Calc(target_point, DT35_CloseBall, DT35_Forward) < 5.0f ) {
//                        if(TOF_dis2 > 100.f) {
                        Vision_Send(0x03);
                            CLAW_OPEN_H;
//                            ControlMsgSet(&ControlQueueBuf, CLAW, CLAW_OPEN, 0, 0, 0, 0);
//                            xQueueSend(ControlQueueHandle, &ControlQueueBuf, 0);
                            Interrupt_Flag = 1;
                            osDelay(1000);
                            //osDelay(600);//TODO
                        CloseLoopStatus = CloseLoop_MID360;
                        target_point=Watch_Point;
                            Interrupt_Flag = 0;
//                        ControlMsgSet(&ControlQueueBuf, CLAW, CLAW_CLOSE, 0, 0, 0, 0);
//                        xQueueSend(ControlQueueHandle, &ControlQueueBuf, 0);
//                        ControlMsgSet(&ControlQueueBuf, CLAW, Toggle_Mid, 0, 0, 0, 0);
//                        xQueueSend(ControlQueueHandle, &ControlQueueBuf, 0);
                            SUCTION_OFF_H;
                            StopVESC_H;
                            Slope_OFF_H;
//                            ControlMsgSet(&ControlQueueBuf, SUCTION, SUCTION_OFF, 0, 0, 0, 0);
//                            xQueueSend(ControlQueueHandle, &ControlQueueBuf, 0);
//                            ControlMsgSet(&ControlQueueBuf, SUCTION, StopVESC, 0, 0, 0, 0);
//                            xQueueSend(ControlQueueHandle, &ControlQueueBuf, 0);
//                            ControlMsgSet(&ControlQueueBuf, SUCTION, Slope_OFF, 0, 0, 0, 0);
//                            xQueueSend(ControlQueueHandle, &ControlQueueBuf, 0);
//                            ControlMsgInit(&ControlQueueBuf);
                            Vision_Send(0xCC);
//                        }
//                        else {
//                                //printf("Re-Put");
//                                Interrupt_Flag = 1;
//                                Toggle_Mid_H;
//                                osDelay(500);
//                                Vision_Send(0xEE);
//                        }
                    }
                }
                    /** 对球闭环 **/
                else if (CloseLoopStatus == CloseLoop_Ball) {
                    if(AlignStatus == 1) {
                        float go_speed;
                        float Speed_xy = -PID_Realise(&VisionPID_X, 0, offset_x, 2.f, 3,1);
                        float omega = PID_Realise(&Turn_PID, 0, LiDar.yaw, 0.5f, 0.5f,1);
                        float Speed_y = Speed_xy;
                        if (fabsf(offset_x) < 30) {
                            go_speed = 0.4f;
                        }
                        else
                        {
                            go_speed = 0.2f;
                        }
                        SGW2Wheels(-go_speed, Speed_y, omega, 0);
                    }
                    else if (AlignStatus == 5){
                        float go_speed;
                        float Speed_xy = -PID_Realise(&VisionPID_X, 0, offset_x, 2.f, 3,1);
                        float omega = PID_Realise(&Turn_PID, offset_angle, LiDar.yaw, 0.5f, 0.5f,1);
                        if (fabsf(offset_x) < 15) {
                            go_speed = 0.3f;
                        }
                        else {
                            go_speed = 0.15f;
                        }
                        float Speed_x = -Speed_xy - go_speed;
                        float Speed_y = Speed_xy;
                        SGW2Wheels(Speed_x, Speed_y, omega, 0);
                    }
                    else if (AlignStatus == 6){
                        float go_speed;
                        float Speed_xy = -PID_Realise(&VisionPID_X, 0, offset_x, 2.f, 3,1);
                        float omega = PID_Realise(&Turn_PID, -offset_angle, LiDar.yaw, 0.5f, 0.5f,1);
                        if (fabsf(offset_x) < 15) {
                                go_speed = 0.3f;
                        }
                        else {
                            go_speed = 0.15f;
                        }
                        float Speed_y = Speed_xy;
                        float Speed_x = Speed_xy - go_speed;
                        SGW2Wheels(Speed_x, Speed_y, omega, 0);
                    }
                } else if (CloseLoopStatus == GoForwardSlowly) {
                    SGW2Wheels(-1.f, 0, 0, 0);
                }
            }
        }
        osDelay(10);
    }
  /* USER CODE END chassis */
}

void claw(void const * argument)
{
  /* USER CODE BEGIN claw */
    ControlMsgStruct ControlQueueBuf;
    /* Infinite loop */
    for (;;) {
//        if (xQueuePeek(ControlQueueHandle, &ControlQueueBuf, 0) == pdTRUE) {
//            if (ControlQueueBuf.Device == CLAW) {
//                xQueueReceive(ControlQueueHandle, &ControlQueueBuf, 0);
//                switch (ControlQueueBuf.Command) {
//                    case CLAW_OPEN:
//                        HAL_GPIO_WritePin(GPIOD, GPIO_PIN_11, GPIO_PIN_SET);
//                        //printf("open");
//                        break;
//                    case CLAW_CLOSE:
//                        HAL_GPIO_WritePin(GPIOD, GPIO_PIN_11, GPIO_PIN_RESET);
//                        break;
//                    case Toggle_Up:
//                        Toggle_Pos = 3100;
//                        break;
//                    case Toggle_Mid:
//                        Toggle_Pos = 1500;
//                        break;
//                    case Toggle_Down:
//                        Toggle_Pos = 50;
//                        break;
//                    default:
//                        break;
//                }
//            }
//        }
        osDelay(1);
    }
  /* USER CODE END claw */
}

void suction(void const * argument)
{
  /* USER CODE BEGIN suction */
    ControlMsgStruct ControlQueueBuf;
    /* Infinite loop */
    for (;;) {
//        if (xQueuePeek(ControlQueueHandle, &ControlQueueBuf, 0) == pdTRUE) {
//            if (ControlQueueBuf.Device == SUCTION) {
//                xQueueReceive(ControlQueueHandle, &ControlQueueBuf, 0);
//                switch (ControlQueueBuf.Command) {
//                    case SUCTION_ON:
//                        HAL_GPIO_WritePin(GPIOD, GPIO_PIN_12, GPIO_PIN_SET);
//                        break;
//                    case SUCTION_OFF:
//                        HAL_GPIO_WritePin(GPIOD, GPIO_PIN_12, GPIO_PIN_RESET);
//                        break;
//                    case Slope_ON:
//                        Slope_Pos = 1500;
//                        break;
//                    case Slope_OFF:
//                        Slope_Pos = 0;
//                        break;
//                    case Slope_OUT:
//                        Slope_Pos = 1500;
//                        break;
//                    case OpenVESC:
//                        VESC_Speed = -7000;
//                        break;
//                    case StopVESC:
//                        VESC_Speed = 0;
//                        break;
//                    default:
//                        break;
//                }
//            }
//        }
        osDelay(1);
    }
  /* USER CODE END suction */
}

void visioncom(void const * argument)
{
  /* USER CODE BEGIN visioncom */
    VisionStruct visiondata;
    uint8_t status;//用于小状态切�???????????????????
    float pos_x;
    float pos_y;
    ControlMsgStruct ControlQueueBuf;
    /* Infinite loop */
    for (;;) {
        if (xQueueReceive(VisionData_QueueHandle, &visiondata, 0) == pdTRUE) {
            if (Sheild_Flag == 0) {
                if (visiondata.flag == 0) {
                    //并不是从1�???????????????????3，在3区调试用
                    //printf("START\n");
                    CloseLoopStatus = CloseLoop_START;
                    target_point=Run1to3_Points[0];
                    Interrupt_Flag = 0;
                    CLAW_CLOSE_H;
                    Toggle_Down_H;
                    SUCTION_OFF_H;
                    StopVESC_H;
                    Slope_OFF_H;
//                    ControlMsgSet(&ControlQueueBuf, CLAW, CLAW_CLOSE, 0, 0, 0, 0);
//                    xQueueSend(ControlQueueHandle, &ControlQueueBuf, 0);
//                    ControlMsgSet(&ControlQueueBuf, CLAW, Toggle_Down, 0, 0, 0, 0);
//                    xQueueSend(ControlQueueHandle, &ControlQueueBuf, 0);
//                    ControlMsgSet(&ControlQueueBuf, SUCTION, SUCTION_OFF, 0, 0, 0, 0);
//                    xQueueSend(ControlQueueHandle, &ControlQueueBuf, 0);
//                    ControlMsgSet(&ControlQueueBuf, SUCTION, StopVESC, 0, 0, 0, 0);
//                    xQueueSend(ControlQueueHandle, &ControlQueueBuf, 0);
//                    ControlMsgSet(&ControlQueueBuf, SUCTION, Slope_OFF, 0, 0, 0, 0);
//                    xQueueSend(ControlQueueHandle, &ControlQueueBuf, 0);
//                    ControlMsgInit(&ControlQueueBuf);
                }
                    /** 跑球的点，中间区 **/
                else if (visiondata.flag == 1) {
                    //printf("Go1Area\n");
//                    ControlMsgSet(&ControlQueueBuf, CHASSIS, CloseLoop_MID360,
//                                  -visiondata.vision_y/1000.f + MutiPos_x,
//                                  visiondata.vision_x/1000.f + MutiPos_y, 0, 1);
//                    xQueueSend(ControlQueueHandle, &ControlQueueBuf, 0);
                    CloseLoopStatus = CloseLoop_MID360;
                    target_point.x=-visiondata.vision_y/1000.f + MutiPos_x;
                    target_point.y=visiondata.vision_x/1000.f + MutiPos_y;
                    Interrupt_Flag = 0;
                    SUCTION_ON_H;
                    CLAW_OPEN_H;
                    Toggle_Mid_H;
                    OpenVESC_H;
                    Slope_ON_H;
//                    ControlMsgSet(&ControlQueueBuf, SUCTION, SUCTION_ON, 0, 0, 0, 0);
//                    xQueueSend(ControlQueueHandle, &ControlQueueBuf, 0);
//                    ControlMsgSet(&ControlQueueBuf, CLAW, CLAW_OPEN, 0, 0, 0, 0);
//                    xQueueSend(ControlQueueHandle, &ControlQueueBuf, 0);
//                    ControlMsgSet(&ControlQueueBuf, CLAW, Toggle_Mid, 0, 0, 0, 0);
//                    xQueueSend(ControlQueueHandle, &ControlQueueBuf, 0);
                    //printf("%f %f",-visiondata.vision_y / 1000.0f + MutiPos_x,visiondata.vision_x / 1000.0f + MutiPos_y);
//                    ControlMsgSet(&ControlQueueBuf, SUCTION, OpenVESC, 0, 0, 0, 0);
//                    xQueueSend(ControlQueueHandle, &ControlQueueBuf, 0);
//                    ControlMsgSet(&ControlQueueBuf, SUCTION, Slope_ON, 0, 0, 0, 0);
//                    xQueueSend(ControlQueueHandle, &ControlQueueBuf, 0);
//                    ControlMsgInit(&ControlQueueBuf);
                }
                    /** 跑球的点，左边区 **/
                else if (visiondata.flag == 5) {
                    //printf("Go5Area\n");
//                    ControlMsgSet(&ControlQueueBuf, CHASSIS, CloseLoop_MID360,
//                                  -visiondata.vision_y/1000.f + MutiPos_x,
//                                  visiondata.vision_x/1000.f + MutiPos_y, offset_angle, 5);
//                    xQueueSend(ControlQueueHandle, &ControlQueueBuf, 0);
                    CloseLoopStatus = CloseLoop_MID360;
                    target_point.x=-visiondata.vision_y/1000.f + MutiPos_x;
                    target_point.y=visiondata.vision_x/1000.f + MutiPos_y;
                    Interrupt_Flag = 0;
                    SUCTION_ON_H;
                    CLAW_OPEN_H;
                    Toggle_Mid_H;
                    OpenVESC_H;
                    Slope_ON_H;
//                    ControlMsgSet(&ControlQueueBuf, SUCTION, SUCTION_ON, 0, 0, 0, 0);
//                    xQueueSend(ControlQueueHandle, &ControlQueueBuf, 0);
//                    ControlMsgSet(&ControlQueueBuf, CLAW, CLAW_OPEN, 0, 0, 0, 0);
//                    xQueueSend(ControlQueueHandle, &ControlQueueBuf, 0);
//                    ControlMsgSet(&ControlQueueBuf, CLAW, Toggle_Mid, 0, 0, 0, 0);
//                    xQueueSend(ControlQueueHandle, &ControlQueueBuf, 0);
//                    ControlMsgSet(&ControlQueueBuf, SUCTION, OpenVESC, 0, 0, 0, 0);
//                    xQueueSend(ControlQueueHandle, &ControlQueueBuf, 0);
//                    ControlMsgSet(&ControlQueueBuf, SUCTION, Slope_ON, 0, 0, 0, 0);
//                    xQueueSend(ControlQueueHandle, &ControlQueueBuf, 0);
//                    ControlMsgInit(&ControlQueueBuf);
                } else if (visiondata.flag == 6) {
                    //printf("Go6Area\n");
//                    ControlMsgSet(&ControlQueueBuf, CHASSIS, CloseLoop_MID360,
//                                  -visiondata.vision_y/1000.f + MutiPos_x,
//                                  visiondata.vision_x/1000.f + MutiPos_y, -offset_angle, 5);
//                    xQueueSend(ControlQueueHandle, &ControlQueueBuf, 0);
                    CloseLoopStatus = CloseLoop_MID360;
                    target_point.x=-visiondata.vision_y/1000.f + MutiPos_x;
                    target_point.y=visiondata.vision_x/1000.f + MutiPos_y;
                    Interrupt_Flag = 0;
                    SUCTION_ON_H;
                    CLAW_OPEN_H;
                    Toggle_Mid_H;
                    OpenVESC_H;
                    Slope_ON_H;
//                    ControlMsgSet(&ControlQueueBuf, SUCTION, SUCTION_ON, 0, 0, 0, 0);
//                    xQueueSend(ControlQueueHandle, &ControlQueueBuf, 0);
//                    ControlMsgSet(&ControlQueueBuf, CLAW, CLAW_OPEN, 0, 0, 0, 0);
//                    xQueueSend(ControlQueueHandle, &ControlQueueBuf, 0);
//                    ControlMsgSet(&ControlQueueBuf, CLAW, Toggle_Mid, 0, 0, 0, 0);
//                    xQueueSend(ControlQueueHandle, &ControlQueueBuf, 0);
//                    ControlMsgSet(&ControlQueueBuf, CHASSIS, CloseLoop_MID360,
//                                  -visiondata.vision_y/1000.f +MutiPos_x,
//                                  visiondata.vision_x/1000.f + MutiPos_y, -offset_angle, 6);
//                    xQueueSend(ControlQueueHandle, &ControlQueueBuf, 0);
//                    Interrupt_Flag = 0;
//                    ControlMsgSet(&ControlQueueBuf, CHASSIS, CHASSIS_RUN, 0, 0, 0, 0);
//                    xQueueSend(ControlQueueHandle, &ControlQueueBuf, 0);
//                    ControlMsgSet(&ControlQueueBuf, SUCTION, OpenVESC, 0, 0, 0, 0);
//                    xQueueSend(ControlQueueHandle, &ControlQueueBuf, 0);
//                    ControlMsgSet(&ControlQueueBuf, SUCTION, Slope_ON, 0, 0, 0, 0);
//                    xQueueSend(ControlQueueHandle, &ControlQueueBuf, 0);
//                    ControlMsgInit(&ControlQueueBuf);
                } else if (visiondata.flag == 2) {
                    if (visiondata.vision_y == 0) {
                        /** 对球 **/
//                        printf("align");
                        Interrupt_Flag = 0;
                        CloseLoopStatus = CloseLoop_Ball;
                        offset_x = visiondata.vision_x;
                    }
                    else if (visiondata.vision_y == 1) {
                        //printf("Vision:RightBallWillIn\n");
                        Interrupt_Flag = 1;
                        if(TOF_dis1<280.f) {
                            /** 正确的球即将进入车内 **/
                            //printf("TOF:RightBallWillIn\n");
//                  ControlMsgSet(&ControlQueueBuf,CHASSIS,CloseLoop_MID360,Start_Point.x,Start_Point.y,Start_Point.angle,0);
//                  xQueueSend(ControlQueueHandle, &ControlQueueBuf, 0);
//                  ControlMsgSet(&ControlQueueBuf,CHASSIS,CHASSIS_RUN,0,0,0,0);
//                      xQueueSend(ControlQueueHandle, &ControlQueueBuf, 0);
                            Vision_Send(0xDD);
                            CloseLoopStatus = CloseLoop_MID360;
                            target_point=Watch_Point;
                            Interrupt_Flag = 0;
                            Slope_OFF_H;
                            SUCTION_OFF_H;
                            CLAW_OPEN_H;
                            Toggle_Down_H;
//                            ControlMsgSet(&ControlQueueBuf, SUCTION, Slope_OFF, 0, 0, 0, 0);
//                            xQueueSend(ControlQueueHandle, &ControlQueueBuf, 0);
//                            ControlMsgSet(&ControlQueueBuf, SUCTION, SUCTION_OFF, 0, 0, 0, 0);
//                            xQueueSend(ControlQueueHandle, &ControlQueueBuf, 0);

//                            ControlMsgSet(&ControlQueueBuf, CHASSIS, CHASSIS_RUN, 0, 0, 0, 0);
//                            xQueueSend(ControlQueueHandle, &ControlQueueBuf, 0);
//                            ControlMsgSet(&ControlQueueBuf, CLAW, CLAW_OPEN, 0, 0, 0, 0);
//                            xQueueSend(ControlQueueHandle, &ControlQueueBuf, 0);
//                            ControlMsgSet(&ControlQueueBuf, CLAW, Toggle_Down, 0, 0, 0, 0);
//                            xQueueSend(ControlQueueHandle, &ControlQueueBuf, 0);

                        }
                    }
                } else if (visiondata.flag == 3) {
                    if (visiondata.vision_y == 2) {
                        /** 停车把球排出�??????????????????? **/
                        //printf("WrongBallStop\n");
                        Interrupt_Flag = 1;
                        StopVESC_H;
                        Toggle_Mid_H;
//                        ControlMsgSet(&ControlQueueBuf, SUCTION, StopVESC, 0, 0, 0, 0);
//                        xQueueSend(ControlQueueHandle, &ControlQueueBuf, 0);
//                        ControlMsgSet(&ControlQueueBuf, CLAW, Toggle_Mid, 0, 0, 0, 0);
//                        xQueueSend(ControlQueueHandle, &ControlQueueBuf, 0);
//                        ControlMsgInit(&ControlQueueBuf);
                    } else if (visiondata.vision_y == 1) {
                        /** 夹球 **/
                        osDelay(150);
//                      ControlMsgSet(&ControlQueueBuf,CLAW,Toggle_Down,0,0,0,0);
//                      xQueueSend(ControlQueueHandle, &ControlQueueBuf, 0);
//                      ControlMsgSet(&ControlQueueBuf,CLAW,CLAW_OPEN,0,0,0,0);
//                      xQueueSend(ControlQueueHandle, &ControlQueueBuf, 0);
                        CLAW_CLOSE_H;
//                        ControlMsgSet(&ControlQueueBuf, CLAW, CLAW_CLOSE, 0, 0, 0, 0);
//                        xQueueSend(ControlQueueHandle, &ControlQueueBuf, 0);
//                        ControlMsgSet(&ControlQueueBuf, SUCTION, StopVESC, 0, 0, 0, 0);
//                        xQueueSend(ControlQueueHandle, &ControlQueueBuf, 0);
                        osDelay(100);
                        Toggle_Up_H;
                        StopVESC_H;
//                        ControlMsgSet(&ControlQueueBuf, CLAW, Toggle_Up, 0, 0, 0, 0);
//                        xQueueSend(ControlQueueHandle, &ControlQueueBuf, 0);
//                      ControlMsgSet(&ControlQueueBuf,SUCTION,SUCTION_OFF,0,0,0,0);
//                      xQueueSend(ControlQueueHandle, &ControlQueueBuf, 0);
//                        ControlMsgInit(&ControlQueueBuf);
                    } else if (visiondata.vision_y == 3) {
                        /** 后�??再次找球 **/
//                        ControlMsgSet(&ControlQueueBuf, CHASSIS, GoForwardSlowly, 0, 0, 0, 0);
//                        xQueueSend(ControlQueueHandle, &ControlQueueBuf, 0);
                        //printf("NoBallGoBack\n");
                        CloseLoopStatus = CloseLoop_MID360;
                        target_point=Watch_Point;
                        Interrupt_Flag = 0;
//                        ControlMsgInit(&ControlQueueBuf);
                    }
                    else if (visiondata.vision_y == 7) {
                        /** 继续吸球 **/
                        OpenVESC_H;
                        Interrupt_Flag = 0;
                        //SUCTION_ON_H;
                    }
                }
                else if (visiondata.flag == 4) {
                    if(visiondata.vision_y == 0 && visiondata.vision_x != 0) {
                        //printf("GoToBasket");
//                        ControlMsgSet(&ControlQueueBuf, CHASSIS, CloseLoop_Mid360AndDT35,
//                                      Frame_Points[(int) (visiondata.vision_x - 1)].x,
//                                      Frame_Points[(int) (visiondata.vision_x - 1)].y, 0, visiondata.vision_x);
//                        xQueueSend(ControlQueueHandle, &ControlQueueBuf, 0);
                        CloseLoopStatus = CloseLoop_Mid360AndDT35;
                        number = visiondata.vision_x;
                        target_point.x=Frame_Points[(int) (visiondata.vision_x - 1)].x;
                        target_point.y=Frame_Points[(int) (visiondata.vision_x - 1)].y;
                        Interrupt_Flag = 0;
                        ControlMsgInit(&ControlQueueBuf);
                    }
                    else if(visiondata.vision_x == 0 && visiondata.vision_y != 0){
                        //printf("Re-put");
                       Toggle_Up_H;
//                        ControlMsgSet(&ControlQueueBuf, CHASSIS, CloseLoop_DT35,
//                                      DT35_AimPoints[(int)visiondata.vision_y-1].x,
//                                      DT35_AimPoints[(int)visiondata.vision_y-1].y, 0, visiondata.vision_y);
//                        xQueueSend(ControlQueueHandle, &ControlQueueBuf, 0);
                        CloseLoopStatus = CloseLoop_DT35;
                        target_point.x=DT35_AimPoints[(int)visiondata.vision_y-1].x;
                        target_point.y=DT35_AimPoints[(int)visiondata.vision_y-1].y;
                        Interrupt_Flag = 0;
                        ControlMsgInit(&ControlQueueBuf);
                    }
                }
//                else if(visiondata.flag == 7){
//                    if(fabsf(visiondata.vision_x) <= 500 ){
//                        //printf("Avoid\n");
//                        ControlMsgSet(&ControlQueueBuf, CHASSIS, CHASSIS_Aviodance,visiondata.vision_x , 0, 0, 0);
//                        xQueueSend(ControlQueueHandle, &ControlQueueBuf, 0);
//                        ControlMsgInit(&ControlQueueBuf);
//                        Vision_Send(0x02);
//                    }
//                    else{
//                        //printf("AvoidOver\n");
//                        Vision_Send(0x01);
//                        Interrupt_Flag = 0;
//                    }
//                }
            } else {
                //printf("disabled");
            }
//            if(flag2 == 1){
//                /** 夹球 **/
//                Vision_Send(0x01);
////                      ControlMsgSet(&ControlQueueBuf,CHASSIS,CHASSIS_STOP,0,0,0,0);
////                      xQueueSend(ControlQueueHandle, &ControlQueueBuf, 0);
//                ControlMsgSet(&ControlQueueBuf,SUCTION,Slope_OFF,0,0,0,0);
//                xQueueSend(ControlQueueHandle, &ControlQueueBuf, 0);
////                      ControlMsgSet(&ControlQueueBuf,CLAW,Toggle_Down,0,0,0,0);
////                      xQueueSend(ControlQueueHandle, &ControlQueueBuf, 0);
////                      ControlMsgSet(&ControlQueueBuf,CLAW,CLAW_OPEN,0,0,0,0);
////                      xQueueSend(ControlQueueHandle, &ControlQueueBuf, 0);
//                osDelay(300);
//                ControlMsgSet(&ControlQueueBuf, CLAW, CLAW_CLOSE, 0, 0, 0, 0);
//                xQueueSend(ControlQueueHandle, &ControlQueueBuf, 0);
//                ControlMsgSet(&ControlQueueBuf, SUCTION, StopVESC, 0, 0, 0, 0);
//                xQueueSend(ControlQueueHandle, &ControlQueueBuf, 0);
//                osDelay(200);
//                ControlMsgSet(&ControlQueueBuf, CLAW, Toggle_Up, 0, 0, 0, 0);
//                xQueueSend(ControlQueueHandle, &ControlQueueBuf, 0);
////                      ControlMsgSet(&ControlQueueBuf,SUCTION,SUCTION_OFF,0,0,0,0);
////                      xQueueSend(ControlQueueHandle, &ControlQueueBuf, 0);
//                ControlMsgInit(&ControlQueueBuf);
//                flag2 = 0;
//            }

            osDelay(10);
        }
    }
  /* USER CODE END visioncom */
}

void closeloop(void const * argument)
{
  /* USER CODE BEGIN closeloop */
    /* Infinite loop */
    for (;;) {
        /** 沟槽的大疆，不能分开单独控制�????????????????个ID下的4个电�???????????????? **/
        /** 四轮闭环**/
        //SGW2Wheels(0.f,0.5f,0,0);
        if(Interrupt_Flag == 1){
            Car_Stop;
        }
        else if(Interrupt_Flag == 2) {
            if (offset_x > 0) {
                SGW2Wheels(0.f, 1.f, 0, 0);
            } else {
                SGW2Wheels(0.f, -1.f, 0, 0);
            }
        }
        else{
            Wheels_VelOut[0] = (int16_t) PID_Realise(&Wheels[0], -Wheels_vel[0], Motor_Info[0].speed, M3508_CURRENT_MAX, 5,1);
            Wheels_VelOut[1] = (int16_t) PID_Realise(&Wheels[1], -Wheels_vel[1], Motor_Info[1].speed, M3508_CURRENT_MAX, 5,1);
            Wheels_VelOut[2] = (int16_t) PID_Realise(&Wheels[2], -Wheels_vel[2], Motor_Info[2].speed, M3508_CURRENT_MAX, 5,1);
            Wheels_VelOut[3] = (int16_t) PID_Realise(&Wheels[3], -Wheels_vel[3], Motor_Info[3].speed, M3508_CURRENT_MAX, 5,1);
        }

        Set_Current(&hfdcan1, 0x200, Wheels_VelOut[0], Wheels_VelOut[1], Wheels_VelOut[2], Wheels_VelOut[3]);
        /** 夹爪和分球板闭环**/
        float Slope_Position = PID_Realise(&Slope_Position_t, Slope_Pos, Motor_Info[6].actual_total_angle, 2000, 10.0f,1);
        int16_t Slope_Speed = (int16_t) PID_Realise(&Slope_Speed_t, Slope_Position, Motor_Info[6].speed,
                                                    M2006_CURRENT_MAX, 5,1);
        float Toggle_Position = PID_Realise(&Toggle_Position_t, Toggle_Pos, Motor_Info[7].actual_total_angle, 1000,
                                            5.0f,1);
        int16_t Toggle_Speed = (int16_t) PID_Realise(&Toggle_Speed_t, Toggle_Position, Motor_Info[7].speed,
                                                     M3508_CURRENT_MAX, 5,1);
        Set_Current(&hfdcan2, 0x1FF, 0, 0, Slope_Speed, Toggle_Speed);
        Vesc_SetSpeed(&hfdcan1, VESC_ID, VESC_Speed);
        /** 插�?? **/
        float LiDar_x = LiDar.locx;
        float LiDar_y = LiDar.locy;
        float Locator_x = 0.707f * (locater.pos_x/100.f - locater.pos_y/100.f);
        float Locator_y = 0.707f * (locater.pos_x/100.f + locater.pos_y/100.f);
//        float Locator_x = locater.pos_x/100.f;
//        float Locator_y = locater.pos_y/100.f;
        //printf("1:%.2f,%.2f\n",Locator_Start[0],Locator_Start[1]);
        if(!((LiDar_x == LiDar_x_last) && (LiDar_y == LiDar_y_last))){
            /** 该更新了 **/
            /** 码盘起始重置 **/
            Locator_Addup[0] = 0;
            Locator_Addup[1] = 0;
            Locator_Start[0] = Locator_x;
            Locator_Start[1] = Locator_y;
            //printf("2:%.2f,%.2f\n",Locator_Start[0],Locator_Start[1]);
        }
        /** 码盘插�?? **/
        Locator_Addup[0] = Locator_x - Locator_Start[0];
        Locator_Addup[1] = Locator_y - Locator_Start[1];
        MutiPos_x = LiDar_x + Locator_Addup[0];
        if(Camp == RED) {
            MutiPos_y = LiDar_y + Locator_Addup[1];
        }
        else if(Camp == BLUE){
            MutiPos_y = -(LiDar_y + Locator_Addup[1]);
        }
//        MutiPos_x = Locator_Addup[0];
//        MutiPos_y = Locator_Addup[1];
//        MutiPos_x = locater.pos_x;
//        MutiPos_y = locater.pos_y;
        //printf("%f %f\n",locater.pos_x,MutiPos_x);
        LiDar_x_last = LiDar_x;
        LiDar_y_last = LiDar_y;
        osDelay(1);
    }
  /* USER CODE END closeloop */
}

/* USER CODE BEGIN Header_init */
/**
* @brief 初始化任务，用于启动车，用后即毁
* @param argument: Not used
* @retval None
*/
/* USER CODE END Header_init */
void init(void const * argument)
{
  /* USER CODE BEGIN init */
  /* Infinite loop */
    uint8_t Screen_Buffer;
    ControlMsgStruct ControlQueueBuf;
    vTaskSuspend(NRF_TaskHandle);
    vTaskSuspend(Debug_TaskHandle);
    vTaskSuspend(ChassisTaskHandle);
    vTaskSuspend(ClawTaskHandle);
    vTaskSuspend(SuctionTaskHandle);
    vTaskSuspend(VisionComTaskHandle);
    vTaskSuspend(CloseLoopTaskHandle);
    PID_Set(&Wheels[0], 7.2f, 0.1f, 1.0f, 10000,0);
    PID_Set(&Wheels[1], 7.2f, 0.1f, 1.0f, 10000,0);
    PID_Set(&Wheels[2], 7.2f, 0.1f, 1.0f, 10000,0);
    PID_Set(&Wheels[3], 7.2f, 0.1f, 1.0f, 10000,0);

    PID_Set(&Slope_Speed_t, 4.7f, 0.08f, 0.2f, 10000,0);
    PID_Set(&Slope_Position_t, 2.2f, 0, 0.0f, 0,0);
    PID_Set(&Toggle_Speed_t, 7.2f, 0.5f, 2.0f, 10000,0);
    PID_Set(&Toggle_Position_t, 0.8f, 0, 0.8f, 0,0);

    PID_Set(&Translation_PID, 1.80f, 0.0f, 0.8f, 0.0f,0);
    PID_Set(&Turn_PID, 0.035f, 0.0f, 0.2f, 0.0f,0);

    PID_Set(&VisionRun1, 1.8f, 0.000f, 0.f, 0.0f,0.0f);//�???????进PID
    PID_Set(&VisionRun2, 2.f, 0.0000f, 0.f, 0.0f,0.1f);//保守PID
    PID_Set(&DT35_Run, 0.01f, 0.0f, 0.0f, 0.0f,0);

    PID_Set(&VisionPID_X, 0.0025f, 0.0f, 0.002f, 0.0f,0.0006f);
    PID_Set(&Chassis_GetBall_PID, 2.f, 0.0f, 0.f, 0.0f,0.1f);
  for(;;)
  {
      Read_Screen_CMD(&Screen_Buffer);
      if(Screen_Buffer == BLUE){
          Camp = BLUE;
      }
      if(Screen_Buffer == RED){
          Camp = RED;
      }
      if(Screen_Buffer == START) {
          if(Camp == RED){
              Vision_Send(0xAA);
              offset_angle = 45;
          }
          if(Camp == BLUE){
              Vision_Send(0xBB);
              offset_angle = -45;
          }

          uint8_t QueueBuffer;
          osDelay(3000);
          QueueBuffer = 0;
          xQueueSend(VisionData_QueueHandle, &QueueBuffer, 0);
          vTaskResume(NRF_TaskHandle);
          vTaskResume(Debug_TaskHandle);
          vTaskResume(ChassisTaskHandle);
          vTaskResume(ClawTaskHandle);
          vTaskResume(SuctionTaskHandle);
          vTaskResume(VisionComTaskHandle);
          vTaskResume(CloseLoopTaskHandle);
          vTaskDelete(InitTaskHandle);
      }
      osDelay(100);
  }
  /* USER CODE END init */
}
